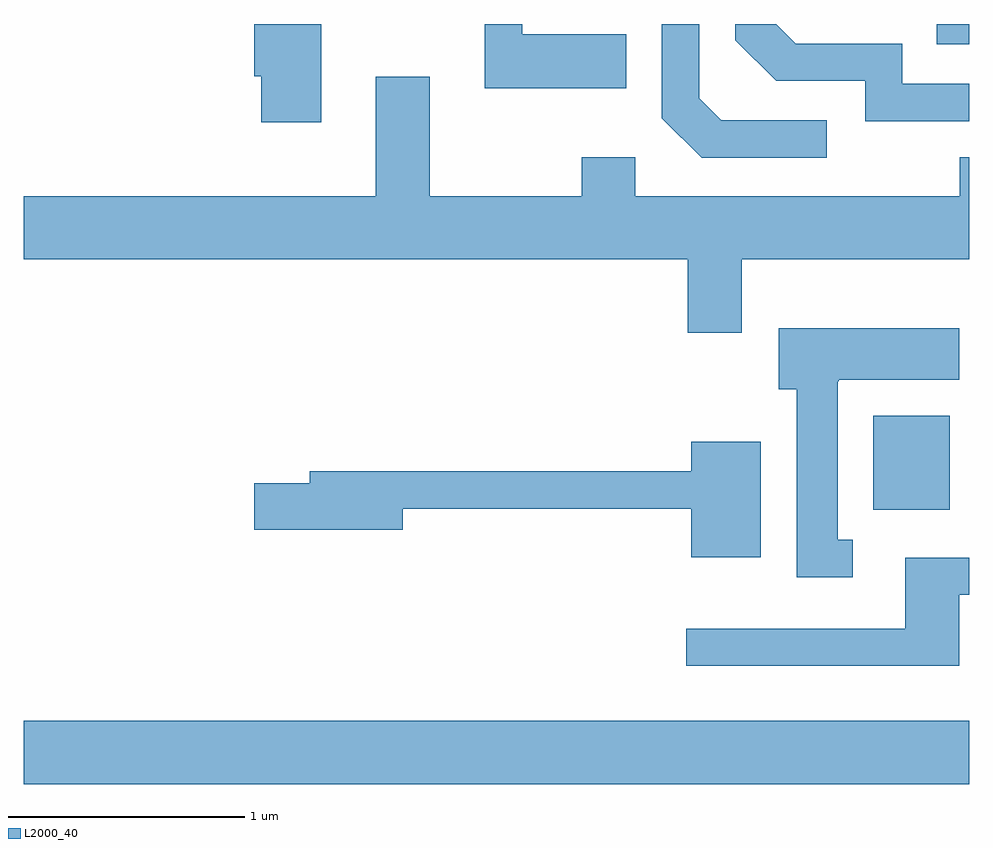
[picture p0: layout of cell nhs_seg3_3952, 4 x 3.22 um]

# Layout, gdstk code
import gdstk
lib = gdstk.Library(unit=1e-6, precision=1e-09)
def R(c, l, rs):  # rectangles x0, y0, x1, y1
    for r in rs: c.add(gdstk.rectangle(r[:2], r[2:], *l))
def P(c, l, *ps):  # polygons
    for p in ps: c.add(gdstk.Polygon(p, *l))
L2000_40 = (2000, 40)

nhs_seg3_3952 = lib.new_cell('nhs_seg3_3952')
R(nhs_seg3_3952, L2000_40, [(301.611,1132.676,305.611,1132.944), (305.206,1133.836,305.529,1134.234), (305.473,1135.806,305.611,1135.892)])
P(nhs_seg3_3952, L2000_40, [(305.008,1135.484),(304.562,1135.484),(304.469,1135.577),(304.469,1135.892),(304.311,1135.892),(304.311,1135.494),(304.479,1135.326),(305.008,1135.326)],
  [(305.611,1135.639),(305.329,1135.639),(305.329,1135.809),(304.877,1135.809),(304.794,1135.892),(304.621,1135.892),(304.621,1135.824),(304.794,1135.651),(305.171,1135.651),(305.171,1135.481),(305.611,1135.481)],
  [(304.159,1135.849),(303.719,1135.849),(303.719,1135.892),(303.561,1135.892),(303.561,1135.621),(304.159,1135.621)],
  [(302.869,1135.892),(302.586,1135.892),(302.586,1135.671),(302.616,1135.671),(302.616,1135.476),(302.869,1135.476)],
  [(304.649,1134.896),(305.611,1134.896),(305.611,1135.329),(305.571,1135.329),(305.571,1135.164),(304.199,1135.164),(304.199,1135.329),(303.971,1135.329),(303.971,1135.164),(303.329,1135.164),(303.329,1135.669),(303.101,1135.669),(303.101,1135.164),(301.611,1135.164),(301.611,1134.896),(304.421,1134.896),(304.421,1134.586),(304.649,1134.586)],
  [(305.118,1133.709),(305.054,1133.709),(305.054,1134.38),(305.06,1134.38),(305.06,1134.386),(305.569,1134.386),(305.569,1134.604),(304.806,1134.604),(304.806,1134.346),(304.881,1134.346),(304.881,1133.551),(305.118,1133.551)],
  [(304.729,1134.124),(304.436,1134.124),(304.436,1133.999),(302.821,1133.999),(302.821,1133.949),(302.586,1133.949),(302.586,1133.751),(303.214,1133.751),(303.214,1133.841),(304.436,1133.841),(304.436,1133.636),(304.729,1133.636)],
  [(305.569,1133.476),(305.611,1133.476),(305.611,1133.634),(305.341,1133.634),(305.341,1133.334),(304.413,1133.334),(304.413,1133.176),(305.569,1133.176)])

lib.write_gds('nhs_seg3_3952.gds')
